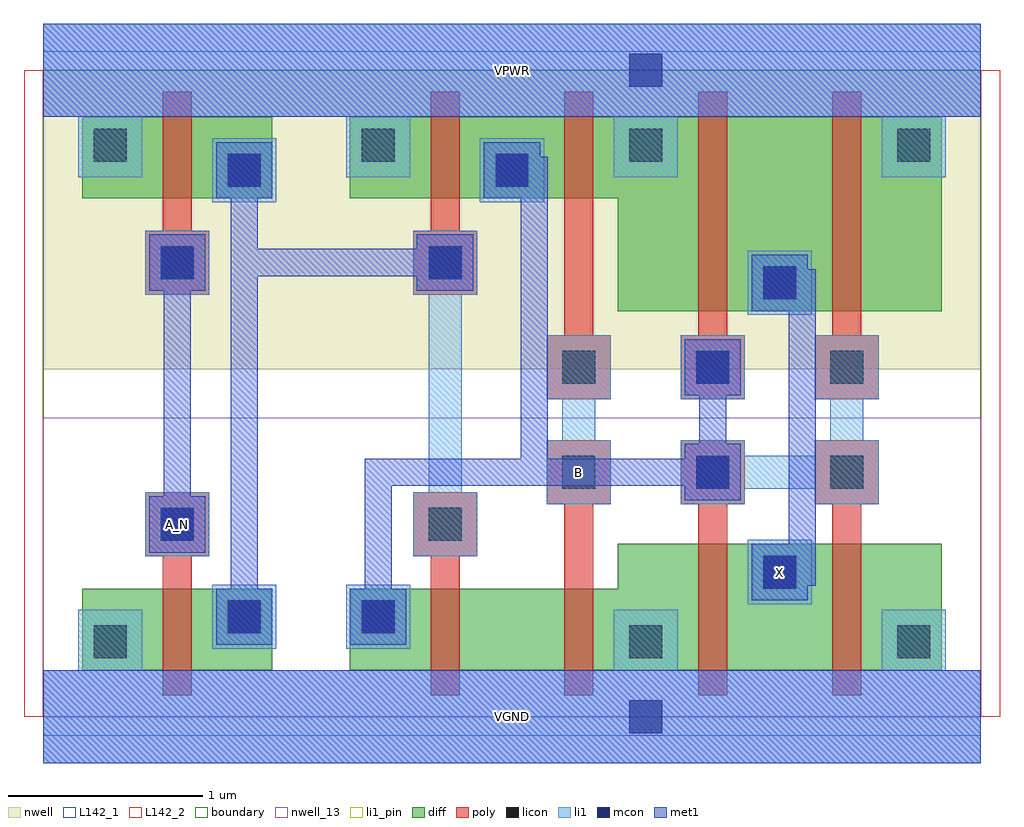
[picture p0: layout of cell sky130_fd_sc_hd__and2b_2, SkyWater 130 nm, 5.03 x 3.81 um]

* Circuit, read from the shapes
.subckt sky130_fd_sc_hd__and2b_2 A_N B VGND VPWR X
XM1 n1 A_N VGND VSUBS sky130_fd_pr__nfet_01v8 w=0.42 l=0.15
XM2 n2 n1 n3 VSUBS sky130_fd_pr__nfet_01v8 w=0.42 l=0.15
XM3 VGND B n2 VSUBS sky130_fd_pr__nfet_01v8 w=0.42 l=0.15
XM4 X n3 VGND VSUBS sky130_fd_pr__nfet_01v8 w=0.65 l=0.15 m=2
XM5 n1 A_N VPWR n4 sky130_fd_pr__pfet_01v8 w=0.42 l=0.15
XM6 n3 n1 VPWR n4 sky130_fd_pr__pfet_01v8 w=0.42 l=0.15
XM7 VPWR B n3 n4 sky130_fd_pr__pfet_01v8 w=0.42 l=0.15
XM8 X n3 VPWR n4 sky130_fd_pr__pfet_01v8 w=1 l=0.15 m=2
.ends

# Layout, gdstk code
import gdstk
lib = gdstk.Library(unit=1e-6, precision=1e-09)
def R(c, l, rs):  # rectangles x0, y0, x1, y1
    for r in rs: c.add(gdstk.rectangle(r[:2], r[2:], *l))
def A(c, l, x, y, w, h, nx, ny, dx, dy):  # array of equal rectangles
    R(c, l, [(x+i*dx, y+j*dy, x+i*dx+w, y+j*dy+h) for i in range(nx) for j in range(ny)])
def P(c, l, *ps):  # polygons
    for p in ps: c.add(gdstk.Polygon(p, *l))
nwell_13 = (64, 13)
nwell = (64, 20)
diff = (65, 20)
poly = (66, 20)
licon = (66, 44)
li1_pin = (67, 16)
li1 = (67, 20)
mcon = (67, 44)
met1 = (68, 20)
L142_1 = (142, 1)
L142_2 = (142, 2)
boundary = (235, 4)

sky130_fd_sc_hd__and2b_2 = lib.new_cell('sky130_fd_sc_hd__and2b_2')
R(sky130_fd_sc_hd__and2b_2, nwell_13, [(0,0,4.83,1.54)])
R(sky130_fd_sc_hd__and2b_2, nwell, [(0,1.79,4.83,3.33)])
R(sky130_fd_sc_hd__and2b_2, diff, [(0.2,0.24,1.18,0.66), (0.2,0.24,0.615,0.66), (0.615,0.24,1.18,0.66), (1.58,0.24,1.995,0.66), (1.995,0.24,2.685,0.66), (3.375,0.24,4.065,0.89), (4.065,0.24,4.63,0.89), (3.375,2.09,4.065,3.09), (4.065,2.09,4.63,3.09), (0.2,2.67,1.18,3.09), (0.2,2.67,0.615,3.09), (0.615,2.67,1.18,3.09), (1.58,2.67,1.995,3.09), (1.995,2.67,2.685,3.09)])
P(sky130_fd_sc_hd__and2b_2, diff, [(1.58,0.24),(1.58,0.66),(2.96,0.66),(2.96,0.89),(4.63,0.89),(4.63,0.24)],
  [(2.685,0.24),(2.685,0.66),(2.96,0.66),(2.96,0.89),(3.375,0.89),(3.375,0.24)],
  [(2.96,2.09),(2.96,2.67),(1.58,2.67),(1.58,3.09),(4.63,3.09),(4.63,2.09)],
  [(2.96,2.09),(2.96,2.67),(2.685,2.67),(2.685,3.09),(3.375,3.09),(3.375,2.09)])
P(sky130_fd_sc_hd__and2b_2, poly, [(2.685,0.11),(2.685,1.095),(2.595,1.095),(2.595,1.425),(2.925,1.425),(2.925,1.095),(2.835,1.095),(2.835,0.11)],
  [(2.595,1.635),(2.595,1.965),(2.685,1.965),(2.685,3.22),(2.835,3.22),(2.835,1.965),(2.925,1.965),(2.925,1.635)],
  [(3.375,0.11),(3.375,1.095),(3.285,1.095),(3.285,1.425),(3.615,1.425),(3.615,1.095),(3.525,1.095),(3.525,0.11)],
  [(4.065,0.11),(4.065,1.095),(3.975,1.095),(3.975,1.425),(4.305,1.425),(4.305,1.095),(4.215,1.095),(4.215,0.11)],
  [(3.285,1.635),(3.285,1.965),(3.375,1.965),(3.375,3.22),(3.525,3.22),(3.525,1.965),(3.615,1.965),(3.615,1.635)],
  [(3.975,1.635),(3.975,1.965),(4.065,1.965),(4.065,3.22),(4.215,3.22),(4.215,1.965),(4.305,1.965),(4.305,1.635)],
  [(0.615,0.11),(0.615,0.825),(0.525,0.825),(0.525,1.155),(0.855,1.155),(0.855,0.825),(0.765,0.825),(0.765,0.11)],
  [(0.525,2.175),(0.525,2.505),(0.615,2.505),(0.615,3.22),(0.765,3.22),(0.765,2.505),(0.855,2.505),(0.855,2.175)],
  [(1.995,0.11),(1.995,0.825),(1.905,0.825),(1.905,1.155),(2.235,1.155),(2.235,0.825),(2.145,0.825),(2.145,0.11)],
  [(1.905,2.175),(1.905,2.505),(1.995,2.505),(1.995,3.22),(2.145,3.22),(2.145,2.505),(2.235,2.505),(2.235,2.175)])
A(sky130_fd_sc_hd__and2b_2, licon, 2.675, 1.175, 0.17, 0.17, 3, 2, 0.69, 0.54)
A(sky130_fd_sc_hd__and2b_2, licon, 0.26, 2.86, 0.17, 0.17, 4, 1, 1.38, 0)
R(sky130_fd_sc_hd__and2b_2, licon, [(0.26,0.3,0.43,0.47), (3.02,0.3,3.19,0.47), (4.4,0.3,4.57,0.47), (0.95,0.43,1.12,0.6), (1.64,0.43,1.81,0.6), (3.71,0.66,3.88,0.83), (0.605,0.905,0.775,1.075), (1.985,0.905,2.155,1.075), (3.71,2.15,3.88,2.32), (0.605,2.255,0.775,2.425), (1.985,2.255,2.155,2.425), (0.95,2.73,1.12,2.9), (2.33,2.73,2.5,2.9)])
R(sky130_fd_sc_hd__and2b_2, li1_pin, [(0,-0.24,4.83,0.24), (3.63,0.58,3.96,0.91), (0.525,0.825,0.855,1.155), (0,3.09,4.83,3.57)])
P(sky130_fd_sc_hd__and2b_2, li1_pin, [(2.595,1.095),(2.595,1.425),(2.675,1.425),(2.675,1.635),(2.595,1.635),(2.595,1.965),(2.925,1.965),(2.925,1.635),(2.845,1.635),(2.845,1.425),(2.925,1.425),(2.925,1.095)])
R(sky130_fd_sc_hd__and2b_2, li1, [(0.87,0.35,1.2,0.68), (1.56,0.35,1.89,0.68), (3.63,0.58,3.96,0.91), (0.525,0.825,0.855,1.155), (3.285,1.635,3.615,1.965), (3.63,2.07,3.96,2.4), (0.525,2.175,0.855,2.505), (0.87,2.65,1.2,2.98), (2.25,2.65,2.58,2.98)])
P(sky130_fd_sc_hd__and2b_2, li1, [(2.595,1.095),(2.595,1.425),(2.675,1.425),(2.675,1.635),(2.595,1.635),(2.595,1.965),(2.925,1.965),(2.925,1.635),(2.845,1.635),(2.845,1.425),(2.925,1.425),(2.925,1.095)],
  [(3.285,1.095),(3.285,1.425),(3.615,1.425),(3.615,1.345),(3.975,1.345),(3.975,1.425),(4.055,1.425),(4.055,1.635),(3.975,1.635),(3.975,1.965),(4.305,1.965),(4.305,1.635),(4.225,1.635),(4.225,1.425),(4.305,1.425),(4.305,1.095),(3.975,1.095),(3.975,1.175),(3.615,1.175),(3.615,1.095)],
  [(0.18,2.78),(0.18,3.09),(0,3.09),(0,3.57),(4.83,3.57),(4.83,3.09),(4.65,3.09),(4.65,2.78),(4.32,2.78),(4.32,3.09),(3.27,3.09),(3.27,2.78),(2.94,2.78),(2.94,3.09),(1.89,3.09),(1.89,2.78),(1.56,2.78),(1.56,3.09),(0.51,3.09),(0.51,2.78)],
  [(0,-0.24),(0,0.24),(0.18,0.24),(0.18,0.55),(0.51,0.55),(0.51,0.24),(2.94,0.24),(2.94,0.55),(3.27,0.55),(3.27,0.24),(4.32,0.24),(4.32,0.55),(4.65,0.55),(4.65,0.24),(4.83,0.24),(4.83,-0.24)],
  [(1.905,0.825),(1.905,1.155),(1.985,1.155),(1.985,2.175),(1.905,2.175),(1.905,2.505),(2.235,2.505),(2.235,2.175),(2.155,2.175),(2.155,1.155),(2.235,1.155),(2.235,0.825)])
R(sky130_fd_sc_hd__and2b_2, mcon, [(3.02,-0.085,3.19,0.085), (0.95,0.43,1.12,0.6), (1.64,0.43,1.81,0.6), (3.71,0.66,3.88,0.83), (0.605,0.905,0.775,1.075), (3.365,1.175,3.535,1.345), (3.365,1.715,3.535,1.885), (3.71,2.15,3.88,2.32), (0.605,2.255,0.775,2.425), (1.985,2.255,2.155,2.425), (0.95,2.73,1.12,2.9), (2.33,2.73,2.5,2.9), (3.02,3.245,3.19,3.415)])
R(sky130_fd_sc_hd__and2b_2, met1, [(0,-0.24,4.83,0.24), (0,3.09,4.83,3.57)])
P(sky130_fd_sc_hd__and2b_2, met1, [(1.58,0.37),(1.58,0.66),(1.655,0.66),(1.655,1.33),(2.46,1.33),(2.46,2.67),(2.27,2.67),(2.27,2.96),(2.56,2.96),(2.56,2.885),(2.6,2.885),(2.6,1.33),(3.305,1.33),(3.305,1.405),(3.38,1.405),(3.38,1.655),(3.305,1.655),(3.305,1.945),(3.595,1.945),(3.595,1.655),(3.52,1.655),(3.52,1.405),(3.595,1.405),(3.595,1.115),(3.305,1.115),(3.305,1.19),(1.795,1.19),(1.795,0.66),(1.87,0.66),(1.87,0.37)],
  [(0.545,0.845),(0.545,1.135),(0.62,1.135),(0.62,2.195),(0.545,2.195),(0.545,2.485),(0.835,2.485),(0.835,2.195),(0.76,2.195),(0.76,1.135),(0.835,1.135),(0.835,0.845)],
  [(0.89,0.37),(0.89,0.66),(0.965,0.66),(0.965,2.67),(0.89,2.67),(0.89,2.96),(1.18,2.96),(1.18,2.67),(1.105,2.67),(1.105,2.41),(1.925,2.41),(1.925,2.485),(2.215,2.485),(2.215,2.195),(1.925,2.195),(1.925,2.27),(1.105,2.27),(1.105,0.66),(1.18,0.66),(1.18,0.37)],
  [(3.65,0.6),(3.65,0.89),(3.84,0.89),(3.84,2.09),(3.65,2.09),(3.65,2.38),(3.94,2.38),(3.94,2.305),(3.98,2.305),(3.98,0.675),(3.94,0.675),(3.94,0.6)])
R(sky130_fd_sc_hd__and2b_2, L142_1, [(0,-0.1,4.83,0), (0,3.33,4.83,3.43)])
R(sky130_fd_sc_hd__and2b_2, L142_2, [(-0.1,0,0,3.33), (4.83,0,4.93,3.33)])
R(sky130_fd_sc_hd__and2b_2, boundary, [(0,0,4.83,3.33)])
sky130_fd_sc_hd__and2b_2.add(gdstk.Label('X', (3.795,0.745), layer=67, texttype=5))
sky130_fd_sc_hd__and2b_2.add(gdstk.Label('B', (2.76,1.26), layer=67, texttype=5))
sky130_fd_sc_hd__and2b_2.add(gdstk.Label('A_N', (0.69,0.99), layer=67, texttype=5))
sky130_fd_sc_hd__and2b_2.add(gdstk.Label('VGND', (2.415,0), layer=67, texttype=5))
sky130_fd_sc_hd__and2b_2.add(gdstk.Label('VPWR', (2.415,3.33), layer=67, texttype=5))
sky130_fd_sc_hd__and2b_2.add(gdstk.Label('VGND', (2.415,0), layer=68, texttype=5))
sky130_fd_sc_hd__and2b_2.add(gdstk.Label('VPWR', (2.415,3.33), layer=68, texttype=5))

lib.write_gds('sky130_fd_sc_hd__and2b_2.gds')
